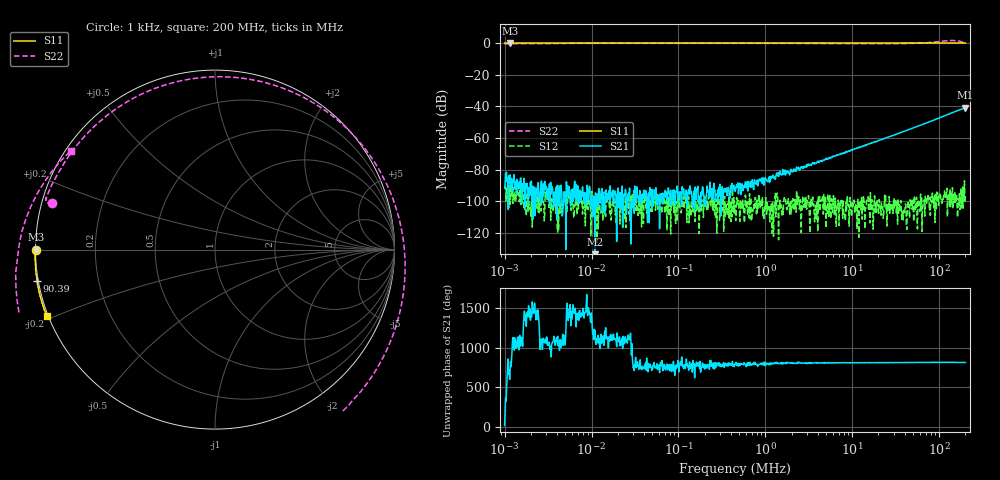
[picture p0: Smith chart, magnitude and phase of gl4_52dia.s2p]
! ListType=Log
# MHZ S RI R 50
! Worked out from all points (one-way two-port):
!   1000 points, 1 kHz to 200 MHz, reference 50 ohm
!   highest |S21| = -40.74 dB at 200 MHz (marker M1); lowest = -137.0 dB at 10.97 kHz (marker M2)
!   lowest |S11| = 0.0 dB at 1.158 kHz (marker M3)
!   |S11| at or under -10 dB: nowhere
!   |S22| runs from -0.5 to 1.7 dB; largest |S21 - S12| = 0.0092
!   S11 on the Smith chart (normalised r, x): 1 kHz: 0.00, +0.00; 90.39 MHz: -0.00, -0.09; 200 MHz: -0.00, -0.19
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0.001  -0.9993 0.00017  2.45e-05 8e-06  -1.15e-05 -2.99e-05  -0.9089 0.26
0.0011579  -0.9987 -0.000308  6.56e-05 1.88e-05  -8e-06 1.1e-06  -0.9121 0.2579
0.0076941  -0.9998 -4.34e-05  1.63e-05 -1.1e-05  -2.1e-06 8.4e-06  -0.9422 0.2759
0.0109658  -0.9998 -0.000162  -1e-07 1e-07  -7e-06 -4.5e-06  -0.9426 0.2793
0.0584804  -0.9997 -0.00021  6.3e-06 9.1e-06  1.1e-06 -7.5e-06  -0.9406 0.2882
0.4499541  -1 -0.00123  4.9e-06 1.99e-05  1.8e-06 7.1e-06  -0.9349 0.303
2.123601  -1.001 -0.0048  6.3e-06 0.000106  -9.3e-06 -4e-07  -0.9099 0.3607
3.419952  -1.001 -0.0075  8.8e-06 0.000145  -1.8e-06 -7.2e-06  -0.8867 0.4028
12.03851  -1.001 -0.0249  1.2e-05 0.000497  -7.5e-06 -3e-07  -0.7122 0.6466
26.31347  -1.002 -0.053  5e-07 0.00109  3.6e-06 -3.5e-06  -0.3118 0.9064
39.86517  -1.001 -0.0793  -2.74e-05 0.00165  -8e-07 4.7e-06  0.1363 0.957
53.44975  -0.9994 -0.1054  -7.63e-05 0.00221  3.8e-06 -3.5e-06  0.5682 0.8053
69.0842  -0.9968 -0.1349  -0.000142 0.00289  -2.1e-06 -1.52e-05  0.9322 0.4127
79.99351  -0.9941 -0.1556  -0.000188 0.00337  4.1e-06 -1.31e-05  1.05 0.048
90.38953  -0.9914 -0.175  -0.000245 0.00385  -2.4e-06 -1.8e-05  1.036 -0.3237
109.9055  -0.9839 -0.2115  -0.000304 0.00478  7.6e-06 -6.4e-06  0.6775 -0.9319
124.1889  -0.9795 -0.2372  -0.000363 0.00546  2.5e-06 -2.1e-06  0.203 -1.17
136.941  -0.9738 -0.26  -0.000392 0.00609  -9.3e-06 -1.37e-05  -0.2718 -1.174
151.0025  -0.9668 -0.285  -0.000391 0.00674  -5.3e-06 -1.93e-05  -0.7376 -0.9479
168.5549  -0.9574 -0.3157  -0.000344 0.00762  -1.07e-05 1.6e-06  -1.076 -0.4214
181.3758  -0.9506 -0.3376  -0.000309 0.00813  -2e-06 -5.8e-06  -1.092 0.0173
200  -0.9377 -0.3689  -0.000326 0.00918  -1.29e-05 -6.6e-06  -0.8026 0.5506
